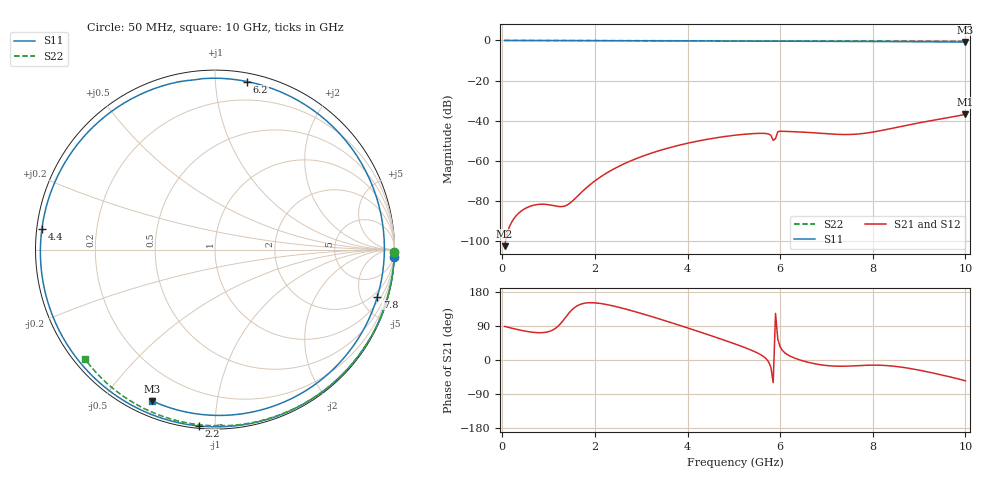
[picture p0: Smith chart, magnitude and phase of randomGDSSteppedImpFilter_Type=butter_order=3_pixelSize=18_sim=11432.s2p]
! freq	dB(S11)	phase(S11)	dB(S12)	phase(S12)
!  dB(S21)	phase(S21)	dB(S22)	phase(S22)
!S-par simulation data
#  GHz  S  DB  R 50
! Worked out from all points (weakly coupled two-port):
!   200 points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, 50 MHz to 10 GHz, reference 50 ohm
!   highest |S21| = -36.74 dB at 10 GHz (marker M1); lowest = -102.5 dB at 50 MHz (marker M2)
!   lowest |S11| = -0.8 dB at 10 GHz (marker M3), VSWR 21.91, Z = 3.3 - j33.3 ohm
!   |S11| at or under -10 dB: nowhere
!   |S22| runs from -0.5 to 0.0 dB; largest |S21 - S12| = 0
!   S11 on the Smith chart (normalised r, x): 50 MHz: 0, -50; 2.2 GHz: 0.01, -0.91; 4.4 GHz: 0.01, +0.06; 6.2 GHz: 0.06, +1.21; 7.8 GHz: 1.45, -6.73; 10 GHz: 0.07, -0.67
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0.05  -0.00 -2.3  -102.46 88.7  -102.46 88.7  -0.00 -0.8
0.7  -0.04 -31.3  -81.95 72.6  -81.95 72.6  -0.01 -11.3
1.5  -0.08 -66.1  -80.27 132.0  -80.27 132.0  -0.03 -24.1
1.75  -0.09 -76.6  -74.76 149.2  -74.76 149.2  -0.04 -28.0
2.2  -0.12 -95.3  -66.78 147.6  -66.78 147.6  -0.04 -35.0
2.8  -0.15 -119.7  -59.71 129.9  -59.71 129.9  -0.06 -44.2
3.4  -0.18 -144.2  -54.80 108.0  -54.80 108.0  -0.07 -53.2
3.9  -0.21 -165.0  -51.72 88.7  -51.72 88.7  -0.08 -60.6
4.4  -0.25 173.2  -49.33 68.6  -49.33 68.6  -0.10 -67.8
5.05  -0.31 142.4  -47.13 41.2  -47.13 41.2  -0.12 -76.9
5.7  -0.37 108.0  -46.37 3.0  -46.37 3.0  -0.15 -86.0
5.8  -0.39 102.4  -47.22 -18.8  -47.22 -18.8  -0.17 -87.4
5.85  -0.40 99.5  -49.79 -59.7  -49.79 -59.7  -0.21 -88.3
5.9  -0.42 96.8  -48.84 123.1  -48.84 123.1  -0.27 -88.3
5.95  -0.40 94.0  -45.43 54.4  -45.43 54.4  -0.19 -88.8
6.2  -0.41 79.2  -45.36 11.2  -45.36 11.2  -0.17 -92.4
6.7  -0.45 48.8  -45.96 -8.7  -45.96 -8.7  -0.19 -99.0
7.25  -0.49 15.4  -46.78 -16.4  -46.78 -16.4  -0.23 -106.0
7.8  -0.52 -16.2  -46.32 -14.2  -46.32 -14.2  -0.26 -113.0
8.35  -0.56 -44.7  -44.08 -15.2  -44.08 -15.2  -0.31 -119.8
9.1  -0.65 -78.4  -40.60 -29.2  -40.60 -29.2  -0.38 -129.0
10  -0.79 -112.6  -36.74 -55.2  -36.74 -55.2  -0.48 -140.0
